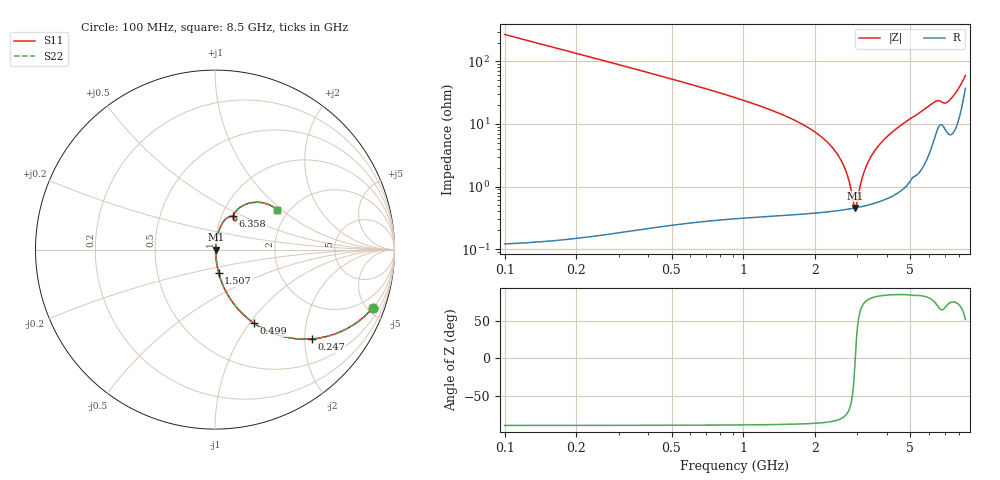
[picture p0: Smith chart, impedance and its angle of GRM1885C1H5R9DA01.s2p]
!Murata Part Number: GRM1885C1H5R9DA01
!These Parameters are Measured in Series Mode Connection
!Data Generated on Mar 30, 2021
!  o--ll--o
!Port1  Port2
!  o------o
!Operation Temp=25[degC], DC Bias Voltage=0[V]
!Freq. Start=100[MHz] Stop=9[GHz] 401[Steps]
# Hz S RI R 50
!Freq.(Hz) S11(Real) S11(Imag) S21(Real) S21(Imag) S12(Real) S12(Imag) S22(Real) S22(Imag)
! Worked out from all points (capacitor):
!   401 points, 100 MHz to 8.5 GHz, reference 50 ohm
!   read as one part in series: C = 5.9 pF near 142 MHz
!   lowest |Z| = 456 mohm at 2.935 GHz (marker M1)
!   series resonance near 2.94 GHz, so ESL is about 500 pH
!   S11 on the Smith chart (normalised r, x): 100 MHz: 1.00, -5.39; 247 MHz: 1.00, -2.17; 499 MHz: 1.00, -1.05; 1.507 GHz: 1.01, -0.27; 6.358 GHz: 1.13, +0.44; 8.5 GHz: 1.74, +0.93
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1e8  0.8788 -0.3261  0.1212 0.3261  0.1212 0.3261  0.8788 -0.3261
2.47e8  0.5401 -0.4976  0.4599 0.4976  0.4599 0.4976  0.5401 -0.4976
3.73e8  0.3362 -0.471  0.6638 0.471  0.6638 0.471  0.3362 -0.471
4.99e8  0.2168 -0.4098  0.7832 0.4098  0.7832 0.4098  0.2168 -0.4098
8.56e8  0.0792 -0.2649  0.9208 0.2649  0.9208 0.2649  0.0792 -0.2649
1.507e9  0.0206 -0.1297  0.9794 0.1297  0.9794 0.1297  0.0206 -0.1297
2.095e9  0.00791 -0.0637  0.9921 0.0637  0.9921 0.0637  0.00791 -0.0637
2.473e9  0.00515 -0.0325  0.9949 0.0325  0.9949 0.0325  0.00515 -0.0325
2.704e9  0.00454 -0.0157  0.9955 0.0157  0.9955 0.0157  0.00454 -0.0157
2.914e9  0.00451 -0.00168  0.9955 0.00168  0.9955 0.00168  0.00451 -0.00168
2.935e9  0.00453 -0.000316  0.9955 0.000316  0.9955 0.000316  0.00453 -0.000316
2.977e9  0.00458 0.00238  0.9954 -0.00238  0.9954 -0.00238  0.00458 0.00238
3.166e9  0.00501 0.0142  0.995 -0.0142  0.995 -0.0142  0.00501 0.0142
3.397e9  0.00592 0.0279  0.9941 -0.0279  0.9941 -0.0279  0.00592 0.0279
3.775e9  0.00829 0.0494  0.9917 -0.0494  0.9917 -0.0494  0.00829 0.0494
4.3e9  0.0135 0.0781  0.9865 -0.0781  0.9865 -0.0781  0.0135 0.0781
5.707e9  0.0475 0.1573  0.9525 -0.1573  0.9525 -0.1573  0.0475 0.1573
6.358e9  0.0986 0.186  0.9014 -0.186  0.9014 -0.186  0.0986 0.186
7.114e9  0.1025 0.1741  0.8975 -0.1741  0.8975 -0.1741  0.1025 0.1741
7.828e9  0.159 0.2471  0.841 -0.2471  0.841 -0.2471  0.159 0.2471
8.206e9  0.2474 0.2633  0.7526 -0.2633  0.7526 -0.2633  0.2474 0.2633
8.5e9  0.3466 0.2225  0.6534 -0.2225  0.6534 -0.2225  0.3466 0.2225
